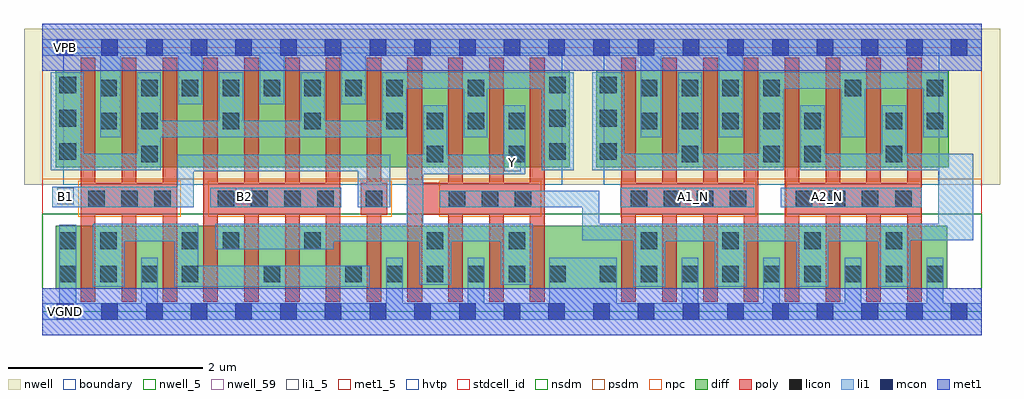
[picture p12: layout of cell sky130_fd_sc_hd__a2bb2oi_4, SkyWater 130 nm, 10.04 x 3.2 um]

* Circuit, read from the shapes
.subckt sky130_fd_sc_hd__a2bb2oi_4 A1_N A2_N B1 B2 VGND VNB VPB VPWR Y
XM1 n1 B1 VGND VNB sky130_fd_pr__nfet_01v8 w=0.65 l=0.15 m=4
XM2 Y B2 n1 VNB sky130_fd_pr__nfet_01v8 w=0.65 l=0.15 m=4
XM3 Y n2 VGND VNB sky130_fd_pr__nfet_01v8 w=0.65 l=0.15 m=4
XM4 n2 A1_N VGND VNB sky130_fd_pr__nfet_01v8 w=0.65 l=0.15 m=4
XM5 n2 A2_N VGND VNB sky130_fd_pr__nfet_01v8 w=0.65 l=0.15 m=4
XM6 VPWR B1 n3 VPB sky130_fd_pr__pfet_01v8_hvt w=1 l=0.15 m=4
XM7 n3 B2 VPWR VPB sky130_fd_pr__pfet_01v8_hvt w=1 l=0.15 m=4
XM8 Y n2 n3 VPB sky130_fd_pr__pfet_01v8_hvt w=1 l=0.15 m=4
XM9 VPWR A1_N n4 VPB sky130_fd_pr__pfet_01v8_hvt w=1 l=0.15 m=4
XM10 n2 A2_N n4 VPB sky130_fd_pr__pfet_01v8_hvt w=1 l=0.15 m=4
.ends

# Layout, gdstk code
import gdstk
lib = gdstk.Library(unit=1e-6, precision=1e-09)
def R(c, l, rs):  # rectangles x0, y0, x1, y1
    for r in rs: c.add(gdstk.rectangle(r[:2], r[2:], *l))
def A(c, l, x, y, w, h, nx, ny, dx, dy):  # array of equal rectangles
    R(c, l, [(x+i*dx, y+j*dy, x+i*dx+w, y+j*dy+h) for i in range(nx) for j in range(ny)])
nwell_5 = (64, 5)
nwell = (64, 20)
nwell_59 = (64, 59)
diff = (65, 20)
poly = (66, 20)
licon = (66, 44)
li1_5 = (67, 5)
li1 = (67, 20)
mcon = (67, 44)
met1_5 = (68, 5)
met1 = (68, 20)
hvtp = (78, 44)
stdcell_id = (81, 4)
nsdm = (93, 44)
psdm = (94, 20)
npc = (95, 20)
boundary = (235, 4)

sky130_fd_sc_hd__a2bb2oi = lib.new_cell('sky130_fd_sc_hd__a2bb2oi_4')
R(sky130_fd_sc_hd__a2bb2oi, nwell_5, [(0.15,2.635,0.32,2.805)])
R(sky130_fd_sc_hd__a2bb2oi, nwell, [(-0.19,1.305,9.85,2.91)])
R(sky130_fd_sc_hd__a2bb2oi, nwell_59, [(0.15,-0.085,0.32,0.085)])
R(sky130_fd_sc_hd__a2bb2oi, diff, [(0.135,0.235,9.305,0.885), (0.135,1.485,5.425,2.485), (5.695,1.485,9.325,2.485)])
A(sky130_fd_sc_hd__a2bb2oi, poly, 0.395, 0.105, 0.15, 0.89, 12, 1, 0.42, 0)
A(sky130_fd_sc_hd__a2bb2oi, poly, 5.955, 0.105, 0.15, 0.89, 8, 1, 0.42, 0)
A(sky130_fd_sc_hd__a2bb2oi, poly, 0.395, 1.325, 0.15, 1.29, 12, 1, 0.42, 0)
A(sky130_fd_sc_hd__a2bb2oi, poly, 5.955, 1.325, 0.15, 1.29, 8, 1, 0.42, 0)
R(sky130_fd_sc_hd__a2bb2oi, poly, [(0.395,0.995,1.385,1.325), (1.655,0.995,3.065,1.325), (3.275,0.995,3.545,1.325), (3.755,0.995,5.165,1.325), (5.955,0.995,7.365,1.325), (7.635,0.995,9.045,1.325)])
A(sky130_fd_sc_hd__a2bb2oi, licon, 0.175, 0.305, 0.17, 0.17, 4, 1, 0.42, 0)
A(sky130_fd_sc_hd__a2bb2oi, licon, 3.115, 0.305, 0.17, 0.17, 6, 1, 0.42, 0)
A(sky130_fd_sc_hd__a2bb2oi, licon, 5.735, 0.305, 0.17, 0.17, 9, 1, 0.42, 0)
A(sky130_fd_sc_hd__a2bb2oi, licon, 6.155, 0.645, 0.17, 0.17, 4, 1, 0.84, 0)
A(sky130_fd_sc_hd__a2bb2oi, licon, 0.47, 1.075, 0.17, 0.17, 3, 1, 0.34, 0)
A(sky130_fd_sc_hd__a2bb2oi, licon, 1.805, 1.075, 0.17, 0.17, 4, 1, 0.34, 0)
A(sky130_fd_sc_hd__a2bb2oi, licon, 4.18, 1.075, 0.17, 0.17, 3, 1, 0.34, 0)
A(sky130_fd_sc_hd__a2bb2oi, licon, 6.05, 1.075, 0.17, 0.17, 4, 1, 0.34, 0)
A(sky130_fd_sc_hd__a2bb2oi, licon, 7.75, 1.075, 0.17, 0.17, 4, 1, 0.34, 0)
A(sky130_fd_sc_hd__a2bb2oi, licon, 0.175, 1.565, 0.17, 0.17, 1, 3, 0, 0.34)
A(sky130_fd_sc_hd__a2bb2oi, licon, 5.215, 1.565, 0.17, 0.17, 1, 3, 0, 0.34)
A(sky130_fd_sc_hd__a2bb2oi, licon, 5.735, 1.565, 0.17, 0.17, 1, 3, 0, 0.34)
A(sky130_fd_sc_hd__a2bb2oi, licon, 1.015, 1.875, 0.17, 0.17, 4, 1, 0.84, 0)
A(sky130_fd_sc_hd__a2bb2oi, licon, 3.955, 1.875, 0.17, 0.17, 3, 1, 0.42, 0)
A(sky130_fd_sc_hd__a2bb2oi, licon, 6.155, 1.875, 0.17, 0.17, 5, 1, 0.42, 0)
A(sky130_fd_sc_hd__a2bb2oi, licon, 0.595, 2.215, 0.17, 0.17, 8, 1, 0.42, 0)
A(sky130_fd_sc_hd__a2bb2oi, licon, 6.155, 2.215, 0.17, 0.17, 4, 1, 0.42, 0)
R(sky130_fd_sc_hd__a2bb2oi, licon, [(2.275,0.305,2.445,0.475), (0.175,0.645,0.345,0.815), (0.595,0.645,0.765,0.815), (1.435,0.645,1.605,0.815), (1.855,0.645,2.025,0.815), (2.695,0.645,2.865,0.815), (3.955,0.645,4.125,0.815), (4.795,0.645,4.965,0.815), (3.325,1.075,3.495,1.245), (1.015,1.535,1.185,1.705), (3.955,1.535,4.125,1.705), (4.795,1.535,4.965,1.705), (6.575,1.535,6.745,1.705), (7.415,1.535,7.585,1.705), (7.835,1.535,8.005,1.705), (8.675,1.535,8.845,1.705), (0.595,1.875,0.765,2.045), (8.675,1.875,8.845,2.045), (9.095,1.875,9.265,2.045), (4.375,2.215,4.545,2.385), (8.255,2.215,8.425,2.385), (9.095,2.215,9.265,2.385)])
R(sky130_fd_sc_hd__a2bb2oi, li1_5, [(0.15,1.105,0.32,1.275), (1.99,1.105,2.16,1.275), (6.61,1.105,6.78,1.275), (7.99,1.105,8.16,1.275), (4.75,1.445,4.92,1.615)])
A(sky130_fd_sc_hd__a2bb2oi, li1, 6.575, 0.085, 0.17, 0.47, 4, 1, 0.84, 0)
A(sky130_fd_sc_hd__a2bb2oi, li1, 6.075, 0.255, 0.33, 0.47, 4, 1, 0.84, 0)
A(sky130_fd_sc_hd__a2bb2oi, li1, 1.395, 2.135, 0.25, 0.5, 3, 1, 0.84, 0)
R(sky130_fd_sc_hd__a2bb2oi, li1, [(0,-0.085,9.66,0.085), (0.175,0.085,0.345,0.895), (1.015,0.085,1.185,0.555), (3.535,0.085,3.705,0.555), (4.375,0.085,4.545,0.555), (5.215,0.085,5.905,0.555), (0.515,0.255,0.845,0.725), (1.355,0.255,3.365,0.475), (3.875,0.275,4.205,0.725), (4.715,0.275,5.045,0.725), (1.355,0.475,1.605,0.725), (1.775,0.645,2.995,0.725), (0.515,0.725,1.605,0.905), (1.775,0.725,5.045,0.905), (6.075,0.725,8.925,0.735), (5.555,0.735,9.575,0.905), (3.745,0.905,3.915,1.415), (5.555,0.905,5.725,1.075), (9.215,0.905,9.575,1.455), (0.1,1.075,1.555,1.285), (1.725,1.075,3.075,1.275), (3.245,1.075,3.575,1.445), (4.085,1.075,5.725,1.245), (5.945,1.075,7.32,1.275), (7.595,1.075,9.045,1.275), (1.385,1.285,1.555,1.445), (3.745,1.415,4.965,1.615), (1.385,1.445,3.575,1.615), (0.085,1.455,1.215,1.625), (5.135,1.455,5.465,2.295), (5.655,1.455,7.625,1.625), (7.795,1.455,9.575,1.625), (3.915,1.615,4.165,2.125), (4.745,1.615,4.965,2.125), (0.085,1.625,0.425,2.465), (0.975,1.625,1.215,1.795), (5.655,1.625,5.985,2.465), (6.54,1.625,6.78,2.465), (7.375,1.625,7.625,2.295), (7.795,1.625,8.045,2.125), (8.635,1.625,8.885,2.125), (0.595,1.795,0.805,2.635), (0.975,1.795,3.745,1.965), (4.335,1.795,4.575,2.295), (6.155,1.795,6.365,2.635), (6.955,1.795,7.205,2.635), (8.215,1.795,8.465,2.295), (9.06,1.795,9.31,2.295), (0.975,1.965,1.215,2.465), (1.815,1.965,2.065,2.465), (2.655,1.965,2.905,2.465), (3.495,1.965,3.745,2.295), (3.495,2.295,5.465,2.465), (7.375,2.295,9.31,2.465), (0,2.635,9.66,2.805)])
A(sky130_fd_sc_hd__a2bb2oi, mcon, 0.145, -0.085, 0.17, 0.17, 21, 2, 0.46, 2.72)
R(sky130_fd_sc_hd__a2bb2oi, met1_5, [(0.15,-0.085,0.32,0.085), (0.15,2.635,0.32,2.805)])
R(sky130_fd_sc_hd__a2bb2oi, met1, [(0,-0.24,9.66,0.24), (0,2.48,9.66,2.96)])
R(sky130_fd_sc_hd__a2bb2oi, hvtp, [(0.215,1.305,5.345,2.665), (5.775,1.305,9.225,2.665)])
R(sky130_fd_sc_hd__a2bb2oi, stdcell_id, [(0,0,9.66,2.72)])
R(sky130_fd_sc_hd__a2bb2oi, nsdm, [(0,0,9.66,1.01)])
R(sky130_fd_sc_hd__a2bb2oi, psdm, [(0,1.36,9.66,2.72)])
R(sky130_fd_sc_hd__a2bb2oi, npc, [(0.37,0.975,1.42,1.345), (1.705,0.975,3.595,1.345), (4.08,0.975,5.13,1.345), (5.95,0.975,7.34,1.345), (7.65,0.975,9.04,1.345)])
R(sky130_fd_sc_hd__a2bb2oi, boundary, [(0,0,9.66,2.72)])
sky130_fd_sc_hd__a2bb2oi.add(gdstk.Label('A1_N', (6.695,1.19), layer=67, texttype=5))
sky130_fd_sc_hd__a2bb2oi.add(gdstk.Label('A2_N', (8.075,1.19), layer=67, texttype=5))
sky130_fd_sc_hd__a2bb2oi.add(gdstk.Label('B1', (0.235,1.19), layer=67, texttype=5))
sky130_fd_sc_hd__a2bb2oi.add(gdstk.Label('B2', (2.075,1.19), layer=67, texttype=5))
sky130_fd_sc_hd__a2bb2oi.add(gdstk.Label('VGND', (0.235,0), layer=68, texttype=5))
sky130_fd_sc_hd__a2bb2oi.add(gdstk.Label('VNB', (0.235,0), layer=64, texttype=59))
sky130_fd_sc_hd__a2bb2oi.add(gdstk.Label('VPB', (0.235,2.72), layer=64, texttype=5))
sky130_fd_sc_hd__a2bb2oi.add(gdstk.Label('VPWR', (0.235,2.72), layer=68, texttype=5))
sky130_fd_sc_hd__a2bb2oi.add(gdstk.Label('Y', (4.835,1.53), layer=67, texttype=5))

lib.write_gds('sky130_fd_sc_hd__a2bb2oi_4.gds')
